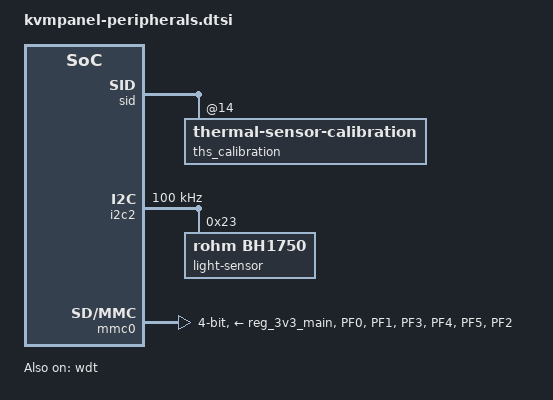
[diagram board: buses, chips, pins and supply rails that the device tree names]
// SPDX-License-Identifier: (GPL-2.0-only OR MIT)
#include <dt-bindings/leds/common.h>
#include <dt-bindings/reset/sun20i-d1-ccu.h>

/ {
	soc {
		led-controller@2008000 {
			compatible = "allwinner,sun20i-d1-ledc", "allwinner,sun50i-a100-ledc";
			reg = <0x2008000 0x400>;
			interrupts = <GIC_SPI 20 IRQ_TYPE_LEVEL_HIGH>;
			clocks = <&ccu CLK_BUS_LEDC>, <&ccu CLK_LEDC>;
			clock-names = "bus", "mod";
			resets = <&ccu RST_BUS_LEDC>;
			assigned-clocks = <&ccu CLK_LEDC>;
			assigned-clock-parents = <&dcxo>;
			assigned-clock-rates = <24000000>;
			pinctrl-names = "default";
			pinctrl-0 = <&ledc_pg13_pin>;
			#address-cells = <1>;
			#size-cells = <0>;

			/* Four pixels fit in the FIFO. The timing registers encode cycles - 1. */
			allwinner,pixel-format = "grb";
			allwinner,t0h-ns = <300>;
			allwinner,t0l-ns = <935>;
			allwinner,t1h-ns = <620>;
			allwinner,t1l-ns = <620>;
			allwinner,treset-ns = <310000>;

			/* Daisy chain order: LED1, LED2, LED4, LED5. */
			multi-led@0 {
				reg = <0>;
				color = <LED_COLOR_ID_RGB>;
				function = LED_FUNCTION_INDICATOR;
				function-enumerator = <1>;
			};

			multi-led@1 {
				reg = <1>;
				color = <LED_COLOR_ID_RGB>;
				function = LED_FUNCTION_INDICATOR;
				function-enumerator = <2>;
			};

			multi-led@2 {
				reg = <2>;
				color = <LED_COLOR_ID_RGB>;
				function = LED_FUNCTION_INDICATOR;
				function-enumerator = <3>;
			};

			multi-led@3 {
				reg = <3>;
				color = <LED_COLOR_ID_RGB>;
				function = LED_FUNCTION_INDICATOR;
				function-enumerator = <4>;
			};
		};

		ths: thermal-sensor@2009400 {
			compatible = "allwinner,sun20i-d1-ths";
			reg = <0x2009400 0x400>;
			interrupts = <GIC_SPI 58 IRQ_TYPE_LEVEL_HIGH>;
			clocks = <&ccu CLK_BUS_THS>;
			clock-names = "bus";
			resets = <&ccu RST_BUS_THS>;
			nvmem-cells = <&ths_calibration>;
			nvmem-cell-names = "calibration";
			#thermal-sensor-cells = <0>;
		};
	};

	thermal-zones {
		cpu-thermal {
			polling-delay-passive = <0>;
			polling-delay = <0>;
			thermal-sensors = <&ths>;

			trips {
				cpu-critical {
					temperature = <100000>;
					hysteresis = <0>;
					type = "critical";
				};
			};
		};
	};
};

&dcxo {
	clock-frequency = <24000000>;
};

&sid {
	ths_calibration: thermal-sensor-calibration@14 {
		reg = <0x14 0x8>;
	};
};

&pio {
	/* F4 feeds the 1.8 V leg. The other leg uses SoC VCC-IO. */
	vcc-pf-supply = <&reg_1v8>;

	ledc_pg13_pin: ledc-pg13-pin {
		pins = "PG13";
		function = "ledc";
		bias-disable;
	};

	reg_pf_io: pf-vqmmc {
		regulator-name = "PF-SD-IO";
		regulator-min-microvolt = <1800000>;
		regulator-max-microvolt = <3300000>;
	};

	sd_data_cmd_pins: sd-data-cmd-pins {
		pins = "PF0", "PF1", "PF3", "PF4", "PF5";
		function = "mmc0";
		bias-pull-up;
	};

	sd_clk_pin: sd-clk-pin {
		pins = "PF2";
		function = "mmc0";
		bias-disable;
	};
};

&i2c2 {
	pinctrl-names = "default";
	pinctrl-0 = <&i2c2_pd_pins>;
	clock-frequency = <100000>;
	status = "okay";

	light-sensor@23 {
		compatible = "rohm,bh1750";
		/* U6.2 (ADDR) is grounded. */
		reg = <0x23>;
	};

	touchscreen@20 {
		compatible = "syna,rmi4-i2c";
		reg = <0x20>;
		vdd-supply = <&reg_3v3_main>;
		vio-supply = <&reg_1v8>;
		#address-cells = <1>;
		#size-cells = <0>;
		/* CN2.35 (IRQ) and CN2.5 (reset) reach PD14 and PD19. */
		status = "disabled";

		rmi4-f12@12 {
			reg = <0x12>;
			syna,sensor-type = <1>;
		};
	};
};

&mmc0 {
	pinctrl-names = "default";
	pinctrl-0 = <&sd_data_cmd_pins>, <&sd_clk_pin>;
	bus-width = <4>;
	max-frequency = <150000000>;
	vmmc-supply = <&reg_3v3_main>;
	vqmmc-supply = <&reg_pf_io>;
	cap-sd-highspeed;
	sd-uhs-sdr12;
	sd-uhs-sdr25;
	sd-uhs-sdr50;
	sd-uhs-sdr104;
	sd-uhs-ddr50;
	no-mmc;
	no-sdio;
	disable-wp;
	/* Poll the removable card until the PF6 CD polarity is confirmed. */
	broken-cd;
	status = "okay";
};

/* Use with the ARMv7 FEL build; keep reserved if firmware owns the watchdog. */
&wdt {
	status = "okay";
};
